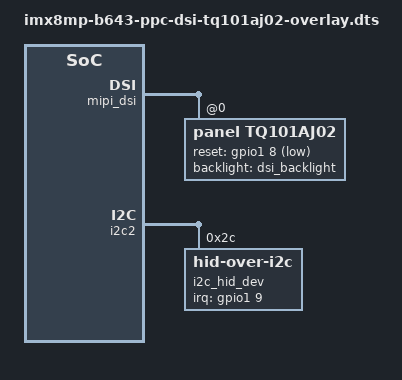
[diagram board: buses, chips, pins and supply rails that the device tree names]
// SPDX-License-Identifier: (GPL-2.0+ OR MIT)
/*
 * Copyright 2022 IEI
 *
 * Author: Wig Cheng <wigcheng@ieiworld.com>
 *
 */

/dts-v1/;
/plugin/;

#include <dt-bindings/interrupt-controller/irq.h>
#include <dt-bindings/gpio/gpio.h>

/ {

	fragment@0 {
		target-path = "/";
		__overlay__ {
			dsi_backlight: dsi_backlight {
				status = "okay";
			};
		};
	};

	fragment@1 {
		target = <&mipi_dsi>;
		__overlay__ {
			#address-cells = <1>;
			#size-cells = <0>;
			status = "okay";
			panel@0 {
				compatible = "panel,tq101aj02";
				reg = <0>;
				backlight = <&dsi_backlight>;
				pinctrl-0 = <&pinctrl_mipi_dsi_en>;
				reset-gpio = <&gpio1 8 GPIO_ACTIVE_LOW>;
				dsi-lanes = <4>;
				video-mode = <2>;
				panel-width-mm = <135>;
				panel-height-mm = <216>;
				status = "okay";
			};
		};
	};

	fragment@2 {
		target = <&i2c2>;
		__overlay__ {
			#address-cells = <1>;
			#size-cells = <0>;
			status = "okay";
			i2c_hid_dev: i2c-hid-dev@2c {
				compatible = "hid-over-i2c";
				reg = <0x2c>;
				hid-descr-addr = <0x0020>;
				pinctrl-names = "default";
				pinctrl-0 = <&pinctrl_touch_irq>;
				interrupt-parent = <&gpio1>;
				interrupts = <9 IRQ_TYPE_LEVEL_LOW>;
				status = "okay";
			};
		};
	};
};

